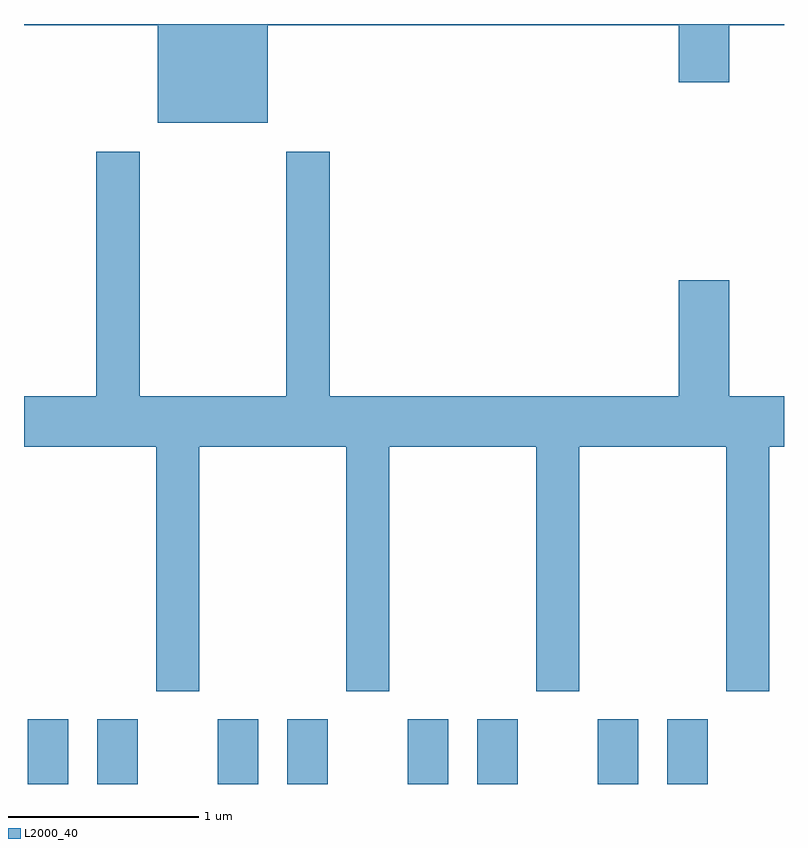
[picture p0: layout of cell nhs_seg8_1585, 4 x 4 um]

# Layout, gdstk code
import gdstk
lib = gdstk.Library(unit=1e-6, precision=1e-09)
def R(c, l, rs):  # rectangles x0, y0, x1, y1
    for r in rs: c.add(gdstk.rectangle(r[:2], r[2:], *l))
def P(c, l, *ps):  # polygons
    for p in ps: c.add(gdstk.Polygon(p, *l))
L2000_40 = (2000, 40)

nhs_seg8_1585 = lib.new_cell('nhs_seg8_1585')
R(nhs_seg8_1585, L2000_40, [(231.631,1912.342,231.844,1912.684), (231.996,1912.342,232.209,1912.684), (232.631,1912.342,232.844,1912.684), (232.996,1912.342,233.209,1912.684), (233.631,1912.342,233.844,1912.684), (233.996,1912.342,234.209,1912.684), (234.631,1912.342,234.844,1912.684), (234.996,1912.342,235.209,1912.684)])
P(nhs_seg8_1585, L2000_40, [(232.894,1916.336),(235.056,1916.336),(235.056,1916.036),(235.324,1916.036),(235.324,1916.336),(235.611,1916.336),(235.611,1916.342),(231.611,1916.342),(231.611,1916.336),(232.316,1916.336),(232.316,1915.821),(232.894,1915.821)],
  [(233.219,1915.669),(232.991,1915.669),(232.991,1914.384),(232.219,1914.384),(232.219,1915.669),(231.991,1915.669),(231.991,1914.384),(231.611,1914.384),(231.611,1914.116),(232.306,1914.116),(232.306,1912.831),(232.534,1912.831),(232.534,1914.116),(233.306,1914.116),(233.306,1912.831),(233.534,1912.831),(233.534,1914.116),(234.306,1914.116),(234.306,1912.831),(234.534,1912.831),(234.534,1914.116),(235.306,1914.116),(235.306,1912.831),(235.534,1912.831),(235.534,1914.116),(235.611,1914.116),(235.611,1914.384),(235.324,1914.384),(235.324,1914.994),(235.056,1914.994),(235.056,1914.384),(233.219,1914.384)])

lib.write_gds('nhs_seg8_1585.gds')
